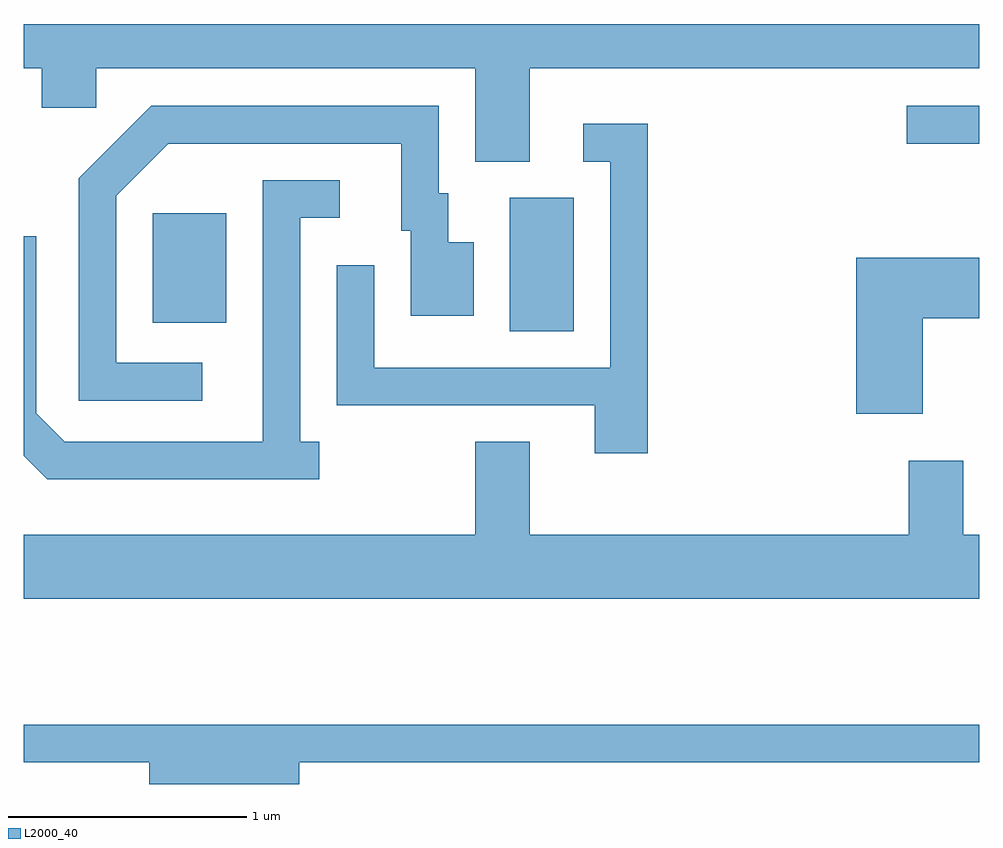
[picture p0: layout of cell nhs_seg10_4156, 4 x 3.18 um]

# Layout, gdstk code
import gdstk
lib = gdstk.Library(unit=1e-6, precision=1e-09)
def R(c, l, rs):  # rectangles x0, y0, x1, y1
    for r in rs: c.add(gdstk.rectangle(r[:2], r[2:], *l))
def P(c, l, *ps):  # polygons
    for p in ps: c.add(gdstk.Polygon(p, *l))
L2000_40 = (2000, 40)

nhs_seg10_4156 = lib.new_cell('nhs_seg10_4156')
R(nhs_seg10_4156, L2000_40, [(309.646,2137.236,309.914,2137.794), (308.151,2137.271,308.459,2137.729), (311.308,2138.021,311.611,2138.179)])
P(nhs_seg10_4156, L2000_40, [(309.729,2138.336),(311.611,2138.336),(311.611,2138.522),(307.611,2138.522),(307.611,2138.336),(307.686,2138.336),(307.686,2138.171),(307.914,2138.171),(307.914,2138.336),(309.501,2138.336),(309.501,2137.946),(309.729,2137.946)],
  [(308.358,2137.104),(307.999,2137.104),(307.999,2137.804),(308.217,2138.021),(309.191,2138.021),(309.191,2137.656),(309.231,2137.656),(309.231,2137.301),(309.494,2137.301),(309.494,2137.609),(309.389,2137.609),(309.389,2137.814),(309.349,2137.814),(309.349,2138.179),(308.144,2138.179),(307.841,2137.877),(307.841,2136.946),(308.358,2136.946)],
  [(310.224,2138.104),(309.953,2138.104),(309.953,2137.946),(310.066,2137.946),(310.066,2137.084),(309.079,2137.084),(309.079,2137.513),(308.921,2137.513),(308.921,2136.926),(310.001,2136.926),(310.001,2136.726),(310.224,2136.726)],
  [(308.848,2136.774),(308.769,2136.774),(308.769,2137.711),(308.933,2137.711),(308.933,2137.869),(308.611,2137.869),(308.611,2136.774),(307.782,2136.774),(307.664,2136.892),(307.664,2137.633),(307.611,2137.633),(307.611,2136.714),(307.709,2136.616),(308.848,2136.616)],
  [(311.374,2137.291),(311.611,2137.291),(311.611,2137.544),(311.096,2137.544),(311.096,2136.891),(311.374,2136.891)],
  [(311.611,2136.384),(311.544,2136.384),(311.544,2136.694),(311.316,2136.694),(311.316,2136.384),(309.729,2136.384),(309.729,2136.774),(309.501,2136.774),(309.501,2136.384),(307.611,2136.384),(307.611,2136.116),(311.611,2136.116)],
  [(308.764,2135.431),(311.611,2135.431),(311.611,2135.589),(307.611,2135.589),(307.611,2135.431),(308.136,2135.431),(308.136,2135.341),(308.764,2135.341)])

lib.write_gds('nhs_seg10_4156.gds')
